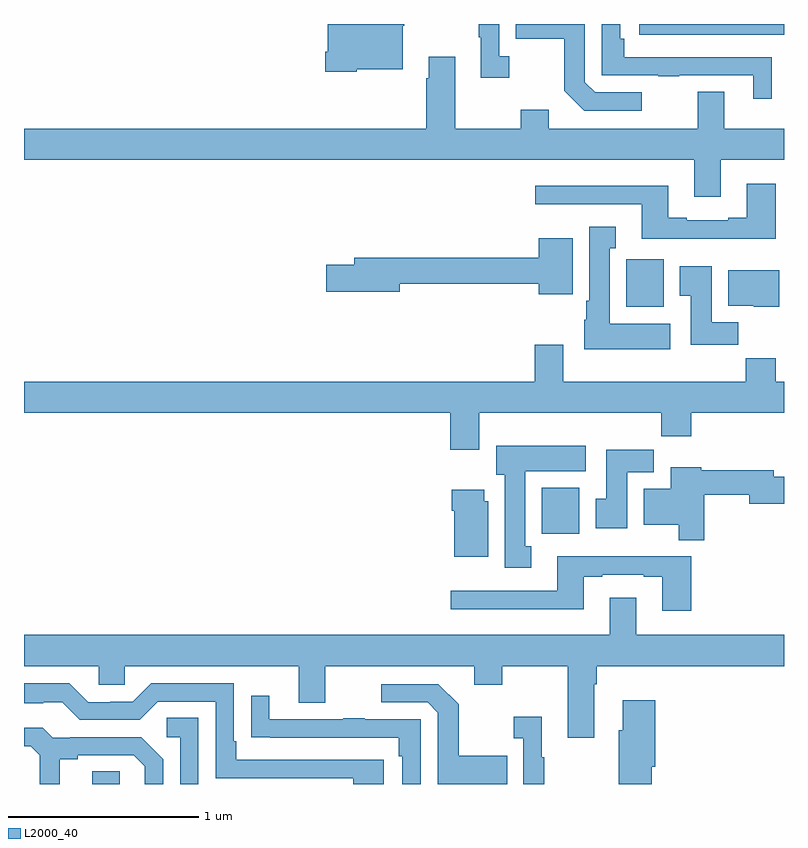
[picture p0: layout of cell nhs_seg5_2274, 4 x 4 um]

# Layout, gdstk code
import gdstk
lib = gdstk.Library(unit=1e-6, precision=1e-09)
def R(c, l, rs):  # rectangles x0, y0, x1, y1
    for r in rs: c.add(gdstk.rectangle(r[:2], r[2:], *l))
def P(c, l, *ps):  # polygons
    for p in ps: c.add(gdstk.Polygon(p, *l))
L2000_40 = (2000, 40)

nhs_seg5_2274 = lib.new_cell('nhs_seg5_2274')
R(nhs_seg5_2274, L2000_40, [(243.359,862.799,243.504,862.865), (245.726,864.116,245.923,864.358), (246.171,865.31,246.367,865.56), (246.237,866.742,247,866.799)])
P(nhs_seg5_2274, L2000_40, [(245.554,866.63),(245.502,866.63),(245.502,866.799),(245.394,866.799),(245.394,866.729),(245.405,866.729),(245.405,866.517),(245.554,866.517)],
  [(244.752,866.561),(244.993,866.561),(244.993,866.789),(245.001,866.789),(245.001,866.799),(244.598,866.799),(244.598,866.653),(244.586,866.653),(244.586,866.549),(244.752,866.549)],
  [(246.935,866.624),(246.833,866.624),(246.833,866.625),(246.158,866.625),(246.158,866.722),(246.138,866.722),(246.138,866.799),(246.042,866.799),(246.042,866.529),(246.337,866.529),(246.337,866.524),(246.449,866.524),(246.449,866.529),(246.839,866.529),(246.839,866.406),(246.935,866.406)],
  [(246.25,866.439),(246.006,866.439),(245.952,866.493),(245.952,866.799),(245.587,866.799),(245.587,866.722),(245.844,866.722),(245.844,866.449),(245.949,866.343),(246.25,866.343)],
  [(246.667,866.084),(247,866.084),(247,866.248),(246.685,866.248),(246.685,866.443),(246.545,866.443),(246.545,866.248),(245.761,866.248),(245.761,866.347),(245.614,866.347),(245.614,866.248),(245.269,866.248),(245.269,866.626),(245.129,866.626),(245.129,866.513),(245.117,866.513),(245.117,866.248),(243,866.248),(243,866.084),(246.527,866.084),(246.527,865.89),(246.667,865.89)],
  [(246.956,865.957),(246.803,865.957),(246.803,865.78),(246.707,865.78),(246.707,865.767),(246.487,865.767),(246.487,865.78),(246.391,865.78),(246.391,865.948),(245.691,865.948),(245.691,865.851),(246.251,865.851),(246.251,865.67),(246.956,865.67)],
  [(246.4,865.222),(246.082,865.222),(246.082,865.619),(246.115,865.619),(246.115,865.732),(245.975,865.732),(245.975,865.342),(245.96,865.342),(245.96,865.242),(245.948,865.242),(245.948,865.088),(246.4,865.088)],
  [(245.887,865.672),(245.708,865.672),(245.708,865.568),(244.739,865.568),(244.739,865.532),(244.59,865.532),(244.59,865.39),(244.978,865.39),(244.978,865.432),(245.708,865.432),(245.708,865.376),(245.887,865.376)],
  [(246.758,865.228),(246.619,865.228),(246.619,865.525),(246.452,865.525),(246.452,865.369),(246.509,865.369),(246.509,865.11),(246.758,865.11)],
  [(246.976,865.504),(246.707,865.504),(246.707,865.316),(246.84,865.316),(246.84,865.31),(246.976,865.31)],
  [(245.395,864.752),(246.355,864.752),(246.355,864.628),(246.512,864.628),(246.512,864.752),(247,864.752),(247,864.916),(246.956,864.916),(246.956,865.04),(246.799,865.04),(246.799,864.916),(245.839,864.916),(245.839,865.111),(245.687,865.111),(245.687,864.916),(243,864.916),(243,864.752),(245.243,864.752),(245.243,864.558),(245.395,864.558)],
  [(245.671,864.05),(245.638,864.05),(245.638,864.446),(245.956,864.446),(245.956,864.58),(245.486,864.58),(245.486,864.426),(245.531,864.426),(245.531,863.937),(245.671,863.937)],
  [(246.175,864.44),(246.314,864.44),(246.314,864.559),(246.065,864.559),(246.065,864.3),(246.008,864.3),(246.008,864.144),(246.175,864.144)],
  [(246.581,864.322),(246.818,864.322),(246.818,864.275),(247,864.275),(247,864.417),(246.946,864.417),(246.946,864.451),(246.564,864.451),(246.564,864.466),(246.404,864.466),(246.404,864.352),(246.263,864.352),(246.263,864.164),(246.446,864.164),(246.446,864.082),(246.581,864.082)],
  [(245.443,864.288),(245.422,864.288),(245.422,864.349),(245.252,864.349),(245.252,864.236),(245.264,864.236),(245.264,863.996),(245.443,863.996)],
  [(246.512,863.997),(246.395,863.997),(246.395,863.998),(245.807,863.998),(245.807,863.817),(245.247,863.817),(245.247,863.72),(245.947,863.72),(245.947,863.889),(246.043,863.889),(246.043,863.901),(246.263,863.901),(246.263,863.889),(246.359,863.889),(246.359,863.712),(246.512,863.712)],
  [(246.001,863.324),(246.014,863.324),(246.014,863.42),(247,863.42),(247,863.584),(246.223,863.584),(246.223,863.779),(246.083,863.779),(246.083,863.584),(243,863.584),(243,863.42),(243.393,863.42),(243.393,863.322),(243.531,863.322),(243.531,863.42),(244.445,863.42),(244.445,863.226),(244.585,863.226),(244.585,863.42),(245.369,863.42),(245.369,863.321),(245.517,863.321),(245.517,863.42),(245.861,863.42),(245.861,863.043),(246.001,863.043)],
  [(244.894,862.926),(244.117,862.926),(244.117,863.023),(244.104,863.023),(244.104,863.328),(243.669,863.328),(243.573,863.232),(243.455,863.232),(243.455,863.229),(243.339,863.229),(243.239,863.329),(243,863.329),(243,863.225),(243.101,863.225),(243.101,863.229),(243.201,863.229),(243.294,863.136),(243.609,863.136),(243.705,863.232),(244.008,863.232),(244.008,862.83),(244.733,862.83),(244.733,862.799),(244.894,862.799)],
  [(245.543,862.947),(245.287,862.947),(245.287,863.219),(245.181,863.325),(244.881,863.325),(244.881,863.229),(245.124,863.229),(245.178,863.175),(245.178,862.799),(245.543,862.799)],
  [(245.088,863.139),(244.793,863.139),(244.793,863.144),(244.681,863.144),(244.681,863.139),(244.291,863.139),(244.291,863.263),(244.195,863.263),(244.195,863.044),(244.297,863.044),(244.297,863.043),(244.972,863.043),(244.972,862.946),(244.992,862.946),(244.992,862.799),(245.088,862.799)],
  [(246.305,862.89),(246.323,862.89),(246.323,863.239),(246.152,863.239),(246.152,863.082),(246.13,863.082),(246.13,862.799),(246.305,862.799)],
  [(245.737,862.939),(245.725,862.939),(245.725,863.152),(245.577,863.152),(245.577,863.039),(245.628,863.039),(245.628,862.799),(245.737,862.799)],
  [(243.918,863.147),(243.75,863.147),(243.75,863.046),(243.822,863.046),(243.822,862.799),(243.918,862.799)],
  [(243.187,862.928),(243.283,862.928),(243.283,862.95),(243.578,862.95),(243.635,862.893),(243.635,862.799),(243.732,862.799),(243.732,862.93),(243.616,863.046),(243.244,863.046),(243.244,863.043),(243.15,863.043),(243.098,863.095),(243,863.095),(243,862.998),(243.036,862.998),(243.083,862.951),(243.083,862.799),(243.187,862.799)])

lib.write_gds('nhs_seg5_2274.gds')
